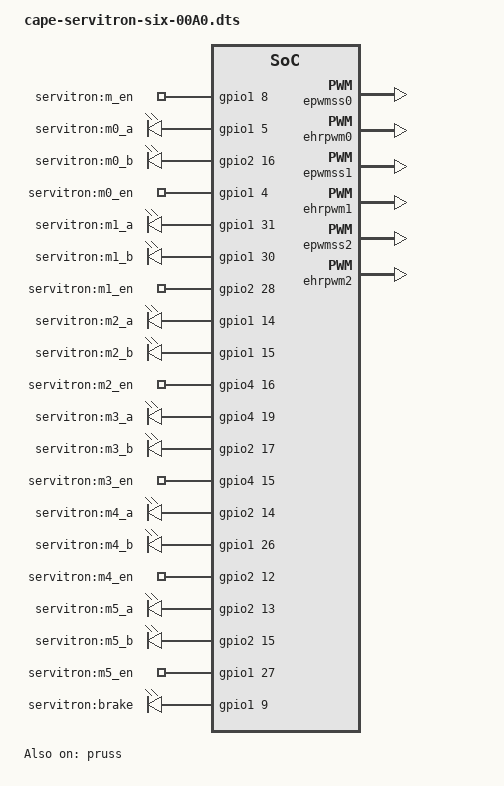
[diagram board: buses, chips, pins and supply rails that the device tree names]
/dts-v1/;
/plugin/;

/ {
    compatible = "ti,beaglebone-black";

    /* identification */
    part-number = "BB-SERVITRON-SIX";
    version = "00A0";
    dtbo = "cape-servitron-00A0.dtbo";

    /* state the resources this cape uses or prepare to get winged! */
    exclusive-use =
        /* Quadrature inputs */
        "P8.7", "P8.8", "P8.9",
        "P8.10", "P8.18", "P8.30",
        "P8.34", "P8.36", "P8.37",
        "P8.38", "P8.39", "P8.40",
        "P8.41", "P8.42", "P8.43",
        "P8.44", "P8.45", "P8.46",
        /* Motor enable (PWM) pins */
        "P9.22",
        "P9.21",
        "P9.14",
        "P9.16",
        "P8.19",
        "P8.13",
        /* Enable and direction pins */
        "P8.35", // M_EN (active low)

        /* Brake */
        "P8.33",
        /* Estop/power */
        /* Endstops */
        /* Hardware IP cores in use */
        "pruss"; 

    fragment@0 {
        target = <&am33xx_pinmux>;
        __overlay__ {
            motor_pwm_pins: pinmux_motor_pwm_pins{
                pinctrl-single,pins = <
                    0x150 0x3 // P9.22 - pwm0a - spi0_sclk
                    0x154 0x3 // P9.21 - pwm0b - spi0_d0
                    0x048 0x6 // P9.14 - pwm1a - gpmc_a2
                    0x04c 0x6 // P9.16 - pwm1b - gpmc_a3
                    0x020 0x4 // P8.19 - pwm2a - gpmc_ad8
                    0x024 0x4 // P8.13 - pwm2b - gpmc_ad9
                >;
            };
            brake_pins: pinmux_brake_pins{
                pinctrl-single,pins = <
                    // Mode is 0x0f: input off, pullup off
                    0x0d4 0xf // P8.33 - BRAKE - lcd_data13     GPIO0_9
                >;
            };
            motor_pins: pinmux_motor_pins{
                pinctrl-single,pins = <
                    // Mode is 0x0f: input off, pullup off
                    0x0d0 0xf // P8.35 - M_EN - lcd_data12      GPIO0_8
                    // M0
                    0x15c 0xf // P9.17 - M0_A  - spi0_cs0       GPIO0_5
                    0x040 0xf // P9.15 - M0_B  - gpmc_a0        GPIO1_16
                    0x158 0xf // P9.18 - M0_EN - spi0_d1        GPIO0_4
                    // M1
                    0x074 0xf // P9.13 - M1_A  - gpmc_wpn       GPIO0_31
                    0x070 0xf // P9.11 - M1_B  - gpmc_wait0     GPIO0_30
                    0x078 0xf // P9.12 - M1_EN - gpmc_ben1      GPIO1_28
                    // M2
                    0x180 0xf // P9.26 - M2_A  - uart1_rxd      GPIO0_14
                    0x184 0xf // P9.24 - M2_B  - uart1_txd      GPIO0_15
                    0x198 0xf // P9.30 - M2_EN - mcasp0_axr0    GPIO3_16
                    // M3
                    0x1a4 0xf // P9.27 - M3_A  - mcasp0_fsr     GPIO3_19
                    0x044 0xf // P9.23 - M3_B  - gpmc_a1        GPIO1_17
                    0x194 0xf // P9.29 - M3_EN - mcasp0_fsx     GPIO3_15
                    // M4
                    0x038 0xf // P8.16 - M4_A  - gpmc_ad14      GPIO1_14
                    0x028 0xf // P8.14 - M4_B  - gpmc_ad10      GPIO0_26
                    0x030 0xf // P8.12 - M4_EN - gpmc_ad12      GPIO1_12
                    // M5
                    0x034 0xf // P8.11 - M5_A  - gpmc_ad13      GPIO1_13
                    0x03c 0xf // P8.15 - M5_B  - gpmc_ad15      GPIO1_15
                    0x02c 0xf // P8.17 - M5_EN - gpmc_ad11      GPIO0_27
                >;
            };
            pruicss_quad_pins: pinmux_pruicss_quad_pins{
                pinctrl-single,pins = <
                    // Mode is 0x3f: input turned on, pullup off
                    0x090 0x3f // P8.7  - Q0A - gpmc_advn_ale   GPIO2_2
                    0x094 0x3f // P8.8  - Q0B - gpmc_oen_ren    GPIO2_3
                    0x09c 0x3f // P8.9  - Q0I - gpmc_ben0_cle   GPIO2_5

                    0x098 0x3f // P8.10 - Q1A - gpmc_wen        GPIO2_4
                    0x08c 0x3f // P8.18 - Q1B - gpmc_clk        GPIO2_1
                    0x0ec 0x3f // P8.30 - Q1I - lcd_ac_bias_en  GPIO2_25

                    0x0cc 0x3f // P8.34 - Q2A - lcd_data_11     GPIO2_17
                    0x0c8 0x3f // P8.36 - Q2B - lcd_data_10     GPIO2_16
                    0x0c0 0x3f // P8.37 - Q2I - lcd_data_8      GPIO2_14

                    0x0c4 0x3f // P8.38 - Q3A - lcd_data_9      GPIO2_15
                    0x0b8 0x3f // P8.39 - Q3B - lcd_data_6      GPIO2_12
                    0x0bc 0x3f // P8.40 - Q3I - lcd_data_7      GPIO2_13

                    0x0b0 0x3f // P8.41 - Q4A - lcd_data_4      GPIO2_10
                    0x0b4 0x3f // P8.42 - Q4B - lcd_data_5      GPIO2_11
                    0x0a8 0x3f // P8.43 - Q4I - lcd_data_2      GPIO2_8

                    0x0ac 0x3f // P8.44 - Q5A - lcd_data_3      GPIO2_9
                    0x0a0 0x3f // P8.45 - Q5B - lcd_data_0      GPIO2_6
                    0x0a4 0x3f // P8.46 - Q5I - lcd_data_1      GPIO2_7
                >;
            };

        };
    };

    fragment@1{
        target = <&pruss>;
        __overlay__{
            status = "okay";
            pinctrl-names = "default";
            pinctrl-0       = <&pruicss_quad_pins>;

            quad_0{
                pin-names     = "Servi:q0_a", "Servi:q0_b", "Servi:q0_i";
                gpios         = <&gpio3 2 0x5
                                &gpio3 3 0x5
                                &gpio3 5 0x5>; 
            };            

            quad_1{
                pin-names     = "Servi:q1_a", "Servi:q1_b", "Servi:q1_i";
                gpios         = <&gpio3 4 0x5
                                &gpio3 1 0x5
                                &gpio3 25 0x5>; 
            };            

            quad_2{
                pin-names     = "Servi:q2_a", "Servi:q2_b", "Servi:q2_i";
                gpios         = <&gpio3 17 0x5
                                &gpio3 16 0x5
                                &gpio3 14 0x5>; 
            };            

            quad_3{
                pin-names     = "Servi:q3_a", "Servi:q3_b", "Servi:q3_i";
                gpios         = <&gpio3 15 0x5
                                &gpio3 12 0x5
                                &gpio3 13 0x5>; 
            };            

            quad_4{
                pin-names     = "Servi:q4_a", "Servi:q4_b", "Servi:q4_i";
                gpios         = <&gpio3 10 0x5
                                &gpio3 11 0x5
                                &gpio3 8 0x5>; 
            };            

            quad_5{
                pin-names     = "Servi:q5_a", "Servi:q5_b", "Servi:q5_i";
                gpios         = <&gpio3 9 0x5
                                &gpio3 6 0x5
                                &gpio3 7 0x5>; 
            };            
        };
    };

    // Bring up the PWM subsystem and PWM module for all three PWM generators    
    fragment@2 {
        target = <&epwmss0>;
        __overlay__ { status = "okay"; };
    };
    fragment@3 {
        target = <&ehrpwm0>;
        __overlay__ { status = "okay"; };
    };
    fragment@4 {
        target = <&epwmss1>;
        __overlay__ { status = "okay"; };
    };
    fragment@5 {
        target = <&ehrpwm1>;
        __overlay__ { status = "okay"; };
    };
    fragment@6 {
        target = <&epwmss2>;
        __overlay__ { status = "okay"; };
    };
    fragment@7 {
        target = <&ehrpwm2>;
        __overlay__ { status = "okay"; };
    };
    
    // Brake pin
    fragment@8 {
        target = <&ocp>;
        __overlay__ {
            motors {
                compatible = "gpio-leds";
                pinctrl-names = "default";
                pinctrl-0 = <&motor_pins>;
                m_en {
                    label = "servitron:m_en";
                    gpios = <&gpio1 8 0>;
                    default-state = "on"; // active low
                };
                m0_a { label = "servitron:m0_a"; gpios = <&gpio1 5 0>; default-state = "off"; };
                m0_b { label = "servitron:m0_b"; gpios = <&gpio2 16 0>; default-state = "off"; };
                m0_en { label = "servitron:m0_en"; gpios = <&gpio1 4 0>; default-state = "off"; };

                m1_a { label = "servitron:m1_a"; gpios = <&gpio1 31 0>; default-state = "off"; };
                m1_b { label = "servitron:m1_b"; gpios = <&gpio1 30 0>; default-state = "off"; };
                m1_en { label = "servitron:m1_en"; gpios = <&gpio2 28 0>; default-state = "off"; };

                m2_a { label = "servitron:m2_a"; gpios = <&gpio1 14 0>; default-state = "off"; };
                m2_b { label = "servitron:m2_b"; gpios = <&gpio1 15 0>; default-state = "off"; };
                m2_en { label = "servitron:m2_en"; gpios = <&gpio4 16 0>; default-state = "off"; };

                m3_a { label = "servitron:m3_a"; gpios = <&gpio4 19 0>; default-state = "off"; };
                m3_b { label = "servitron:m3_b"; gpios = <&gpio2 17 0>; default-state = "off"; };
                m3_en { label = "servitron:m3_en"; gpios = <&gpio4 15 0>; default-state = "off"; };

                m4_a { label = "servitron:m4_a"; gpios = <&gpio2 14 0>; default-state = "off"; };
                m4_b { label = "servitron:m4_b"; gpios = <&gpio1 26 0>; default-state = "off"; };
                m4_en { label = "servitron:m4_en"; gpios = <&gpio2 12 0>; default-state = "off"; };

                m5_a { label = "servitron:m5_a"; gpios = <&gpio2 13 0>; default-state = "off"; };
                m5_b { label = "servitron:m5_b"; gpios = <&gpio2 15 0>; default-state = "off"; };
                m5_en { label = "servitron:m5_en"; gpios = <&gpio1 27 0>; default-state = "off"; };
            };

            brake {
                compatible = "gpio-leds";
                pinctrl-names = "default";
                pinctrl-0 = <&brake_pins>;
                brake {
                    label = "servitron:brake";
                    gpios = <&gpio1 9 0>;
                    default-state = "on";
                };
            };
        };
    };
};
